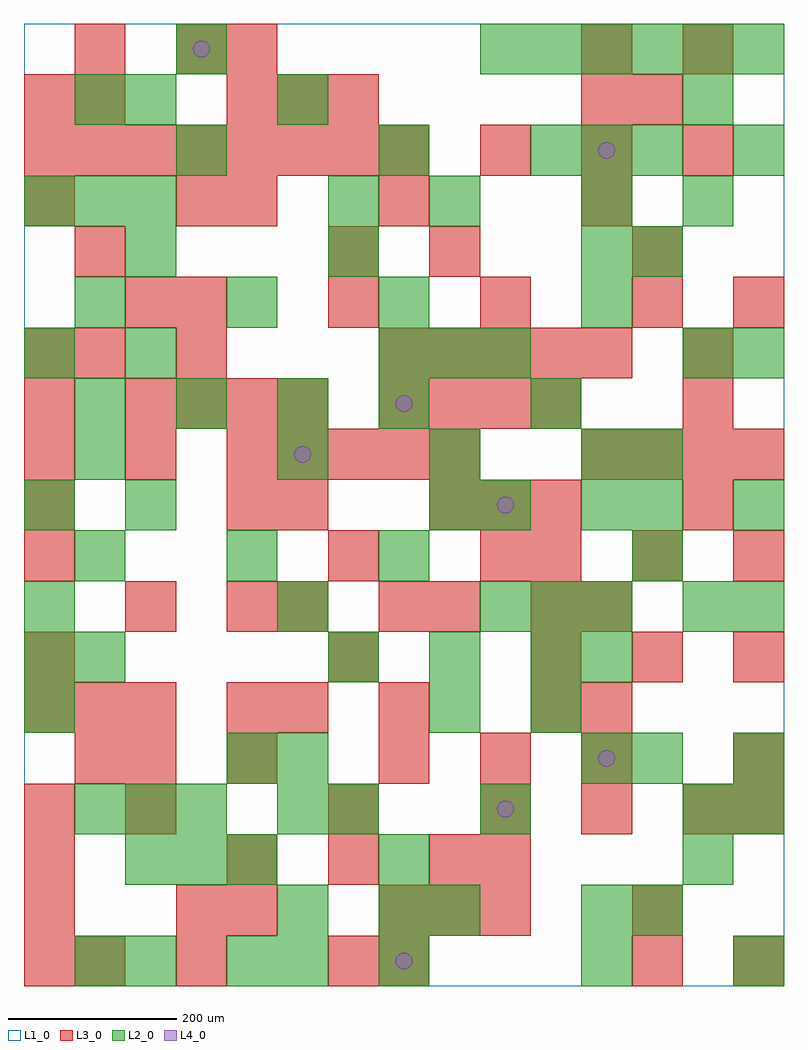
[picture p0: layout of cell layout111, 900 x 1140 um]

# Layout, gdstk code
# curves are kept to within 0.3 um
import gdstk
lib = gdstk.Library(unit=1e-6, precision=1e-09)
def R(c, l, rs):  # rectangles x0, y0, x1, y1
    for r in rs: c.add(gdstk.rectangle(r[:2], r[2:], *l))
def A(c, l, x, y, w, h, nx, ny, dx, dy):  # array of equal rectangles
    R(c, l, [(x+i*dx, y+j*dy, x+i*dx+w, y+j*dy+h) for i in range(nx) for j in range(ny)])
def P(c, l, *ps):  # polygons
    for p in ps: c.add(gdstk.Polygon(p, *l))
L1_0 = (1, 0)
L2_0 = (2, 0)
L3_0 = (3, 0)
L4_0 = (4, 0)

layout111 = lib.new_cell('layout111')
R(layout111, L1_0, [(0,0,900,1140)])
A(layout111, L2_0, 420, 0, 60, 60, 1, 3, 0, 60)
A(layout111, L2_0, 480, 60, 60, 60, 1, 3, 0, 240)
A(layout111, L2_0, 120, 120, 60, 60, 3, 1, 60, 0)
A(layout111, L2_0, 60, 180, 60, 60, 3, 1, 60, 0)
A(layout111, L2_0, 0, 300, 60, 60, 1, 3, 0, 60)
A(layout111, L2_0, 360, 360, 60, 60, 3, 1, 120, 0)
A(layout111, L2_0, 540, 420, 60, 60, 3, 1, 60, 0)
A(layout111, L2_0, 60, 480, 60, 60, 3, 2, 180, 300)
A(layout111, L2_0, 720, 480, 60, 60, 1, 3, 0, 60)
A(layout111, L2_0, 300, 600, 60, 60, 3, 1, 180, 0)
A(layout111, L2_0, 60, 660, 60, 60, 4, 1, 120, 0)
A(layout111, L2_0, 420, 720, 60, 60, 3, 1, 60, 0)
A(layout111, L2_0, 660, 780, 60, 60, 1, 3, 0, 60)
A(layout111, L2_0, 0, 900, 60, 60, 3, 1, 60, 0)
A(layout111, L2_0, 600, 960, 60, 60, 3, 1, 60, 0)
A(layout111, L2_0, 540, 1080, 60, 60, 6, 1, 60, 0)
R(layout111, L2_0, [(60,0,120,60), (120,0,180,60), (240,0,300,60), (300,0,360,60), (660,0,720,60), (840,0,900,60), (300,60,360,120), (660,60,720,120), (720,60,780,120), (780,120,840,180), (300,180,360,240), (360,180,420,240), (540,180,600,240), (780,180,840,240), (840,180,900,240), (240,240,300,300), (300,240,360,300), (660,240,720,300), (720,240,780,300), (840,240,900,300), (600,300,660,360), (60,360,120,420), (660,360,720,420), (300,420,360,480), (780,420,840,480), (840,420,900,480), (0,540,60,600), (120,540,180,600), (540,540,600,600), (660,540,720,600), (840,540,900,600), (60,600,120,660), (600,660,660,720), (0,720,60,780), (120,720,180,780), (780,720,840,780), (840,720,900,780), (120,840,180,900), (360,840,420,900), (720,840,780,900), (360,900,420,960), (480,900,540,960), (780,900,840,960), (180,960,240,1020), (420,960,480,1020), (840,960,900,1020), (60,1020,120,1080), (120,1020,180,1080), (300,1020,360,1080), (780,1020,840,1080), (180,1080,240,1140)])
A(layout111, L3_0, 0, 0, 60, 60, 1, 4, 0, 60)
A(layout111, L3_0, 360, 0, 60, 60, 1, 3, 0, 180)
A(layout111, L3_0, 420, 60, 60, 60, 3, 1, 60, 0)
A(layout111, L3_0, 240, 120, 60, 60, 3, 1, 120, 0)
A(layout111, L3_0, 540, 180, 60, 60, 3, 2, 120, 780)
A(layout111, L3_0, 420, 240, 60, 60, 3, 1, 120, 0)
A(layout111, L3_0, 0, 300, 60, 60, 3, 1, 60, 0)
A(layout111, L3_0, 240, 300, 60, 60, 1, 3, 0, 120)
A(layout111, L3_0, 300, 300, 60, 60, 1, 3, 0, 120)
A(layout111, L3_0, 600, 360, 60, 60, 3, 2, 120, 120)
A(layout111, L3_0, 480, 540, 60, 60, 3, 1, 60, 0)
A(layout111, L3_0, 0, 600, 60, 60, 3, 1, 120, 0)
A(layout111, L3_0, 300, 600, 60, 60, 4, 1, 60, 0)
A(layout111, L3_0, 660, 600, 60, 60, 4, 1, 60, 0)
A(layout111, L3_0, 120, 660, 60, 60, 4, 1, 60, 0)
A(layout111, L3_0, 420, 660, 60, 60, 4, 1, 60, 0)
A(layout111, L3_0, 180, 720, 60, 60, 1, 3, 0, 180)
A(layout111, L3_0, 420, 720, 60, 60, 5, 1, 60, 0)
A(layout111, L3_0, 180, 780, 60, 60, 4, 1, 180, 0)
A(layout111, L3_0, 0, 960, 60, 60, 8, 1, 60, 0)
A(layout111, L3_0, 240, 1020, 60, 60, 3, 1, 60, 0)
R(layout111, L3_0, [(60,0,120,60), (180,0,240,60), (420,0,480,60), (720,0,780,60), (840,0,900,60), (180,60,240,120), (240,60,300,120), (720,60,780,120), (540,120,600,180), (120,180,180,240), (840,180,900,240), (60,240,120,300), (120,240,180,300), (240,240,300,300), (840,240,900,300), (420,300,480,360), (600,300,660,360), (660,300,720,360), (0,360,60,420), (120,420,180,480), (420,420,480,480), (480,420,540,480), (600,420,660,480), (660,420,720,480), (0,480,60,540), (360,480,420,540), (540,480,600,540), (0,540,60,600), (780,540,840,600), (0,660,60,720), (780,660,840,720), (0,720,60,780), (60,720,120,780), (780,720,840,780), (120,780,180,840), (840,780,900,840), (60,840,120,900), (360,840,420,900), (480,840,540,900), (720,840,780,900), (0,900,60,960), (240,900,300,960), (420,900,480,960), (660,900,720,960), (0,1020,60,1080), (60,1020,120,1080), (660,1020,720,1080), (720,1020,780,1080), (60,1080,120,1140), (240,1080,300,1140), (660,1080,720,1140), (780,1080,840,1140)])
P(layout111, L4_0, [(220,1110),(219.239,1113.827),(217.071,1117.071),(213.827,1119.239),(210,1120),(206.173,1119.239),(202.929,1117.071),(200.761,1113.827),(200,1110),(200.761,1106.173),(202.929,1102.929),(206.173,1100.761),(210,1100),(213.827,1100.761),(217.071,1102.929),(219.239,1106.173)],
  [(340,630),(339.239,633.827),(337.071,637.071),(333.827,639.239),(330,640),(326.173,639.239),(322.929,637.071),(320.761,633.827),(320,630),(320.761,626.173),(322.929,622.929),(326.173,620.761),(330,620),(333.827,620.761),(337.071,622.929),(339.239,626.173)],
  [(460,30),(459.239,33.827),(457.071,37.071),(453.827,39.239),(450,40),(446.173,39.239),(442.929,37.071),(440.761,33.827),(440,30),(440.761,26.173),(442.929,22.929),(446.173,20.761),(450,20),(453.827,20.761),(457.071,22.929),(459.239,26.173)],
  [(460,690),(459.239,693.827),(457.071,697.071),(453.827,699.239),(450,700),(446.173,699.239),(442.929,697.071),(440.761,693.827),(440,690),(440.761,686.173),(442.929,682.929),(446.173,680.761),(450,680),(453.827,680.761),(457.071,682.929),(459.239,686.173)],
  [(580,210),(579.239,213.827),(577.071,217.071),(573.827,219.239),(570,220),(566.173,219.239),(562.929,217.071),(560.761,213.827),(560,210),(560.761,206.173),(562.929,202.929),(566.173,200.761),(570,200),(573.827,200.761),(577.071,202.929),(579.239,206.173)],
  [(580,570),(579.239,573.827),(577.071,577.071),(573.827,579.239),(570,580),(566.173,579.239),(562.929,577.071),(560.761,573.827),(560,570),(560.761,566.173),(562.929,562.929),(566.173,560.761),(570,560),(573.827,560.761),(577.071,562.929),(579.239,566.173)],
  [(700,270),(699.239,273.827),(697.071,277.071),(693.827,279.239),(690,280),(686.173,279.239),(682.929,277.071),(680.761,273.827),(680,270),(680.761,266.173),(682.929,262.929),(686.173,260.761),(690,260),(693.827,260.761),(697.071,262.929),(699.239,266.173)],
  [(700,990),(699.239,993.827),(697.071,997.071),(693.827,999.239),(690,1000),(686.173,999.239),(682.929,997.071),(680.761,993.827),(680,990),(680.761,986.173),(682.929,982.929),(686.173,980.761),(690,980),(693.827,980.761),(697.071,982.929),(699.239,986.173)])

lib.write_gds('layout111.gds')
